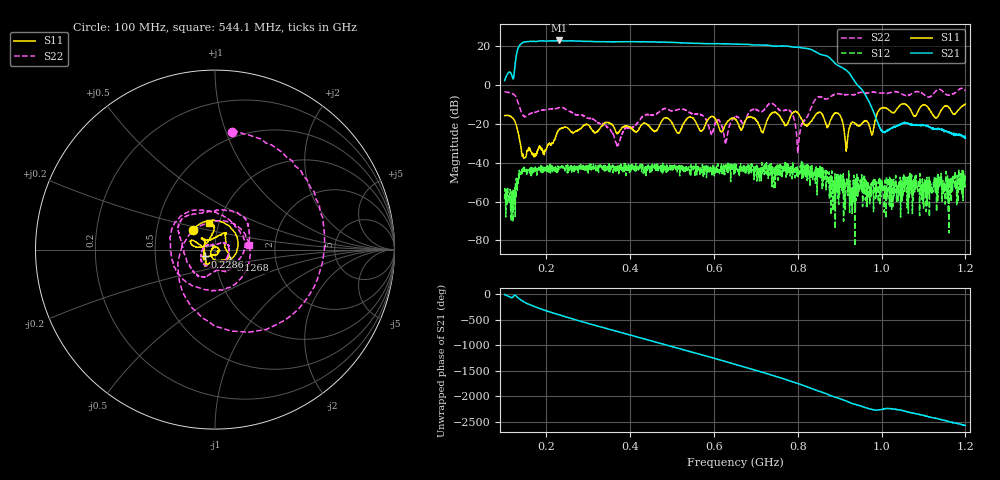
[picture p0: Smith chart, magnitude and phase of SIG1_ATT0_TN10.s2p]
# Hz S DB R 50
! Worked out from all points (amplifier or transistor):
!   1601 points, 100 MHz to 1.2 GHz, reference 50 ohm
!   highest |S21| = 23.0 dB at 230.6 MHz (marker M1)
!   |S21| within 3 dB of that: 134.4 MHz to 744.2 MHz (609.7 MHz wide, 139 % of centre) (the widest 1 of 4)
!   unconditionally stable (mu >= 1): start of sweep to end of sweep
!   at 282.9 MHz: K = 4.66, MAG = 22.8 dB, |S12| = -42.2 dB
!   at 650 MHz: K = 8.47, MAG = 21.3 dB, |S12| = -46.0 dB
!   at 1.2 GHz: K = 1088.61, MAG = -23.8 dB, |S12| = -46.6 dB
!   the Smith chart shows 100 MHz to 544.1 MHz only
!   S11 on the Smith chart (normalised r, x): 100 MHz: 0.76, +0.17; 126.8 MHz: 1.17, -0.14; 228.6 MHz: 0.89, -0.07; 544.1 MHz: 0.90, +0.27
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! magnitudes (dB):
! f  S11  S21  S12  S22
! 100 MHz  -15.7  2.3  -58.8  -3.6
! 126.8 MHz  -19.9  13.7  -58.4  -6.1
! 146.8 MHz  -37.5  22.2  -44.5  -16.3
! 228.6 MHz  -23.3  22.9  -43.7  -11.7
! 230.6 MHz  -22.7  23.0  -42.1  -11.6
! 283.6 MHz  -22.0  22.6  -43.5  -15.3
! 369.5 MHz  -24.7  22.3  -42.7  -30.7
! 467.1 MHz  -21.9  22.1  -43.0  -14.1
! 544.1 MHz  -16.5  21.6  -47.0  -14.4
! 628 MHz  -20.3  21.2  -41.1  -28.7
! 650 MHz  -17.4  21.1  -46.0  -16.3
! 715.3 MHz  -23.9  20.6  -42.8  -13.6
! 738.7 MHz  -14.3  20.2  -43.4  -9.4
! 783.4 MHz  -15.8  19.8  -45.0  -13.6
! 801.2 MHz  -14.6  19.4  -45.0  -31.5
! 833.6 MHz  -18.3  18.2  -41.5  -10.7
! 895.4 MHz  -14.4  10.2  -46.1  -4.4
! 916.1 MHz  -32.8  7.5  -49.8  -5.0
! 930.5 MHz  -19.1  3.7  -54.2  -5.0
! 976.6 MHz  -25.7  -11.6  -50.2  -3.5
! 1.017 GHz  -12.9  -23.3  -51.0  -4.1
! 1.2 GHz  -9.8  -27.4  -46.6  -2.9
